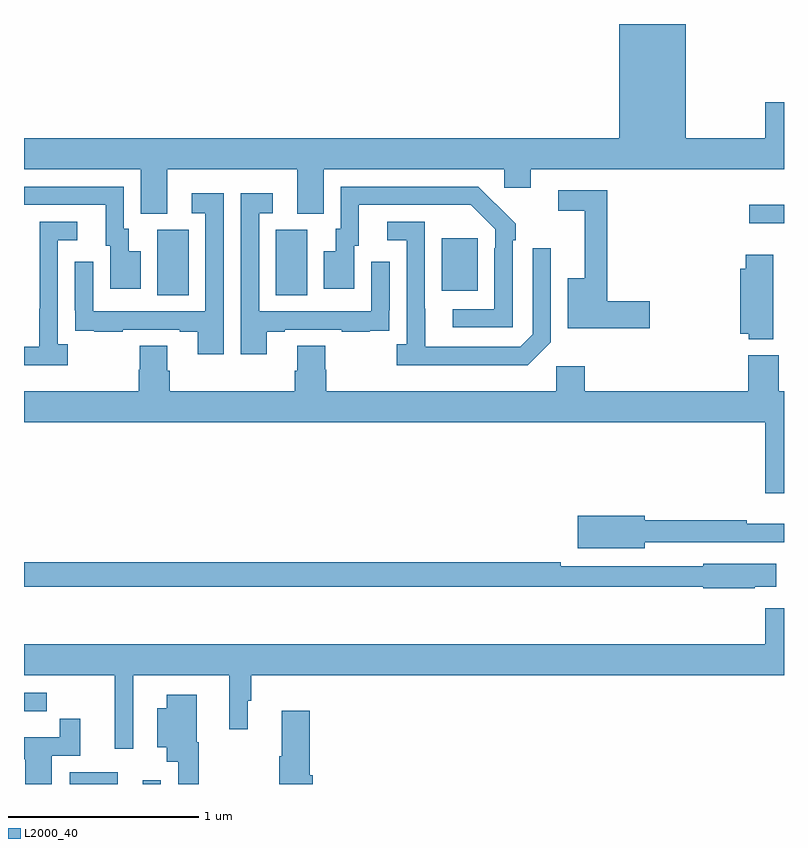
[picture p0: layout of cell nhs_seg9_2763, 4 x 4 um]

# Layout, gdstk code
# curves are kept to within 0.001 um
import gdstk
lib = gdstk.Library(unit=1e-6, precision=1e-09)
def R(c, l, rs):  # rectangles x0, y0, x1, y1
    for r in rs: c.add(gdstk.rectangle(r[:2], r[2:], *l))
def P(c, l, *ps):  # polygons
    for p in ps: c.add(gdstk.Polygon(p, *l))
L2000_40 = (2000, 40)

nhs_seg9_2763 = lib.new_cell('nhs_seg9_2763')
R(nhs_seg9_2763, L2000_40, [(269.24,1210.5,269.494,1210.561), (269.624,1210.5,269.721,1210.519), (269.702,1213.072,269.866,1213.416), (270.326,1213.072,270.49,1213.416), (271.199,1213.097,271.387,1213.372), (272.817,1213.452,273,1213.548)])
P(nhs_seg9_2763, L2000_40, [(269.755,1213.736),(270.437,1213.736),(270.437,1213.501),(270.577,1213.501),(270.577,1213.736),(271.527,1213.736),(271.527,1213.638),(271.666,1213.638),(271.666,1213.736),(273,1213.736),(273,1214.089),(272.9,1214.089),(272.9,1213.9),(272.482,1213.9),(272.482,1214.5),(272.132,1214.5),(272.132,1213.9),(269,1213.9),(269,1213.736),(269.615,1213.736),(269.615,1213.501),(269.755,1213.501)],
  [(271.572,1213.361),(271.587,1213.361),(271.587,1213.449),(271.39,1213.644),(270.666,1213.644),(270.666,1213.422),(270.641,1213.422),(270.641,1213.303),(270.578,1213.303),(270.578,1213.107),(270.739,1213.107),(270.739,1213.332),(270.763,1213.332),(270.763,1213.548),(271.351,1213.548),(271.479,1213.419),(271.479,1213.319),(271.476,1213.319),(271.476,1212.999),(271.257,1212.999),(271.257,1212.903),(271.572,1212.903)],
  [(269.614,1213.303),(269.551,1213.303),(269.551,1213.422),(269.526,1213.422),(269.526,1213.644),(269,1213.644),(269,1213.548),(269.429,1213.548),(269.429,1213.332),(269.453,1213.332),(269.453,1213.107),(269.614,1213.107)],
  [(272.293,1213.04),(272.069,1213.04),(272.069,1213.626),(271.812,1213.626),(271.812,1213.518),(271.952,1213.518),(271.952,1213.162),(271.862,1213.162),(271.862,1212.898),(272.293,1212.898)],
  [(270.051,1213.609),(269.883,1213.609),(269.883,1213.503),(269.955,1213.503),(269.955,1212.987),(269.364,1212.987),(269.364,1213.249),(269.268,1213.249),(269.268,1212.994),(269.269,1212.994),(269.269,1212.885),(269.371,1212.885),(269.371,1212.879),(269.519,1212.879),(269.519,1212.891),(269.819,1212.891),(269.819,1212.879),(269.915,1212.879),(269.915,1212.762),(270.051,1212.762)],
  [(270.277,1212.879),(270.373,1212.879),(270.373,1212.891),(270.673,1212.891),(270.673,1212.879),(270.821,1212.879),(270.821,1212.885),(270.923,1212.885),(270.923,1212.994),(270.924,1212.994),(270.924,1213.249),(270.828,1213.249),(270.828,1212.987),(270.237,1212.987),(270.237,1213.503),(270.31,1213.503),(270.31,1213.609),(270.141,1213.609),(270.141,1212.762),(270.277,1212.762)],
  [(269.23,1212.814),(269.178,1212.814),(269.178,1213.362),(269.281,1213.362),(269.281,1213.458),(269.082,1213.458),(269.082,1213.001),(269.081,1213.001),(269.081,1212.801),(269,1212.801),(269,1212.704),(269.23,1212.704)],
  [(271.773,1212.825),(271.773,1213.321),(271.677,1213.321),(271.677,1212.867),(271.611,1212.801),(271.111,1212.801),(271.11,1213.458),(270.912,1213.458),(270.912,1213.362),(271.014,1213.362),(271.014,1212.814),(270.963,1212.814),(270.963,1212.704),(271.652,1212.704)],
  [(272.944,1213.285),(272.798,1213.285),(272.798,1213.213),(272.771,1213.213),(272.771,1212.869),(272.814,1212.869),(272.814,1212.842),(272.944,1212.842)],
  [(273,1212.568),(272.973,1212.568),(272.973,1212.757),(272.813,1212.757),(272.813,1212.568),(271.952,1212.568),(271.952,1212.7),(271.8,1212.7),(271.8,1212.568),(270.59,1212.568),(270.59,1212.681),(270.585,1212.681),(270.585,1212.806),(270.437,1212.806),(270.437,1212.674),(270.425,1212.674),(270.425,1212.568),(269.768,1212.568),(269.768,1212.674),(269.755,1212.674),(269.755,1212.806),(269.608,1212.806),(269.608,1212.681),(269.603,1212.681),(269.603,1212.568),(269,1212.568),(269,1212.404),(272.9,1212.404),(272.9,1212.03),(273,1212.03)],
  [(272.266,1211.772),(273,1211.772),(273,1211.869),(272.804,1211.869),(272.804,1211.888),(272.266,1211.888),(272.266,1211.912),(271.914,1211.912),(271.914,1211.741),(272.266,1211.741)],
  [(272.846,1211.537),(272.959,1211.537),(272.959,1211.659),(272.574,1211.659),(272.574,1211.646),(271.826,1211.646),(271.826,1211.666),(269,1211.666),(269,1211.538),(272.574,1211.538),(272.574,1211.53),(272.846,1211.53)],
  [(269.574,1211.072),(270.08,1211.072),(270.08,1210.788),(270.178,1210.788),(270.178,1210.938),(270.197,1210.938),(270.197,1211.072),(273,1211.072),(273,1211.425),(272.9,1211.425),(272.9,1211.236),(269,1211.236),(269,1211.072),(269.477,1211.072),(269.477,1210.686),(269.574,1210.686)],
  [(269.006,1210.884),(269.119,1210.884),(269.119,1210.98),(269,1210.98),(269,1210.883),(269.006,1210.883)],
  [(269.92,1210.72),(269.908,1210.72),(269.908,1210.969),(269.75,1210.969),(269.75,1210.9),(269.702,1210.9),(269.702,1210.694),(269.75,1210.694),(269.75,1210.616),(269.811,1210.616),(269.811,1210.5),(269.92,1210.5)],
  [(270.521,1210.545),(270.503,1210.545),(270.503,1210.885),(270.356,1210.885),(270.356,1210.645),(270.343,1210.645),(270.343,1210.5),(270.521,1210.5)],
  [(269.146,1210.65),(269.297,1210.65),(269.297,1210.843),(269.188,1210.843),(269.188,1210.746),(269,1210.746),(269,1210.63),(269.006,1210.63),(269.006,1210.5),(269.146,1210.5)])

lib.write_gds('nhs_seg9_2763.gds')
